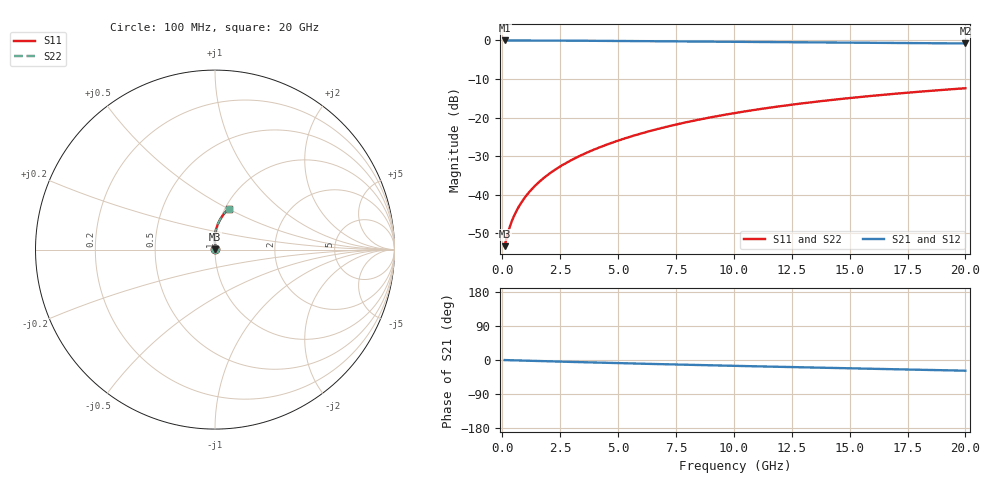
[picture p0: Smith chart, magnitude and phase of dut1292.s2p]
! Touchstone file exported from HFSS 2024.1.0
!  File:  C:/UserFiles/LocalFiles/RDL_TSV_Batchsim/temp_RDL_top_1292_1780242970.aedt
!  Generated:  11:58:07 PM May 31, 2026
!  Design:  RDL_top
!  Project:  temp_RDL_top_1292_1780242970
!  Setup:  Setup1
!  Solution:  Sweep
! Variables:
!  dtsv = 10.80580581um
!  hbump = 3um
!  htsv = 80.12um
!  ldown = 100um
!  lrdl = 403.57um
!  p = 40
!  p1 = 49.77um
!  rhole = 1um
!  t = 450um
!  tdown = 3.915915916um
!  trdl = 3.21um
!  wdown = 15.38538539um
!  wrdl = 27.71um
# GHz S MA R 50.000000
! Terminal data exported
! Port[1] = Box2_T1
! Port[2] = Box2_T2
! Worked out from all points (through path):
!   200 points, 100 MHz to 20 GHz, reference 50 ohm
!   highest |S21| = -0.02 dB at 100 MHz (marker M1); lowest = -0.8 dB at 20 GHz (marker M2)
!   group delay of S21, straight-line fit = 3.86 ps
!   lowest |S11| = -53.3 dB at 100 MHz (marker M3), VSWR 1.00, Z = 50.2 + j0.108 ohm
!   |S11| at or under -10 dB: start of sweep to end of sweep
!   |S22| runs from -53.3 to -12.4 dB; largest |S21 - S12| = 5.2e-15
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0.1  0.002167 29.9  0.9981 -0.2  0.9981 -0.2  0.002167 29.9
! Gamma 0 0 0 0
! Port Impedance 50 0 50 0
0.2  0.002886 46.3  0.998 -0.4  0.998 -0.4  0.002886 46.3
0.3  0.003682 55.2  0.9978 -0.5  0.9978 -0.5  0.003682 55.2
0.4  0.004482 60.9  0.9977 -0.7  0.9977 -0.7  0.004482 60.9
0.5  0.005286 65.1  0.9975 -0.9  0.9975 -0.9  0.005286 65.1
0.6  0.006098 68.4  0.9974 -1.0  0.9974 -1.0  0.006098 68.4
0.8  0.007757 73.3  0.9971 -1.4  0.9971 -1.4  0.007757 73.3
1  0.009462 76.8  0.9968 -1.7  0.9968 -1.7  0.009461 76.8
1.2  0.01121 79.4  0.9965 -2.1  0.9965 -2.1  0.01121 79.4
1.7  0.01572 83.7  0.9955 -2.9  0.9955 -2.9  0.01572 83.7
2.2  0.02042 86.4  0.9942 -3.7  0.9942 -3.7  0.02042 86.4
2.8  0.02633 88.5  0.9924 -4.7  0.9924 -4.7  0.02633 88.5
3.5  0.03358 90.0  0.9898 -5.9  0.9898 -5.9  0.03358 90.0
4.2  0.04122 90.9  0.9869 -7.0  0.9869 -7.0  0.04123 90.9
5  0.0504 91.3  0.9832 -8.2  0.9832 -8.2  0.0504 91.3
6.8  0.07242 90.7  0.9743 -10.9  0.9743 -10.9  0.07243 90.7
8.4  0.09305 89.0  0.9662 -13.2  0.9662 -13.2  0.09307 89.0
10.1  0.1154 86.7  0.9578 -15.5  0.9578 -15.5  0.1155 86.7
11.7  0.1366 84.3  0.9501 -17.7  0.9501 -17.7  0.1366 84.3
13.4  0.1588 81.7  0.9421 -19.9  0.9421 -19.9  0.1588 81.7
16.7  0.2006 76.5  0.9271 -24.1  0.9271 -24.1  0.2007 76.5
20  0.2401 71.5  0.9124 -28.2  0.9124 -28.2  0.2402 71.6
